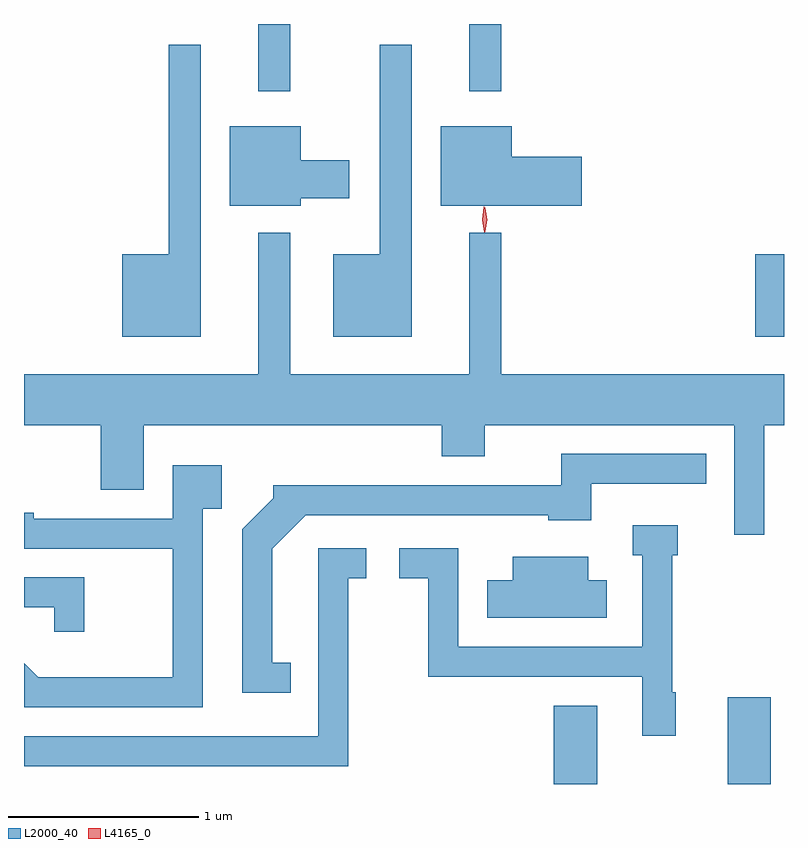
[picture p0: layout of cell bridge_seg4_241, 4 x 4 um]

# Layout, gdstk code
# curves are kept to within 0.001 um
import gdstk
lib = gdstk.Library(unit=1e-6, precision=1e-09)
def R(c, l, rs):  # rectangles x0, y0, x1, y1
    for r in rs: c.add(gdstk.rectangle(r[:2], r[2:], *l))
def P(c, l, *ps):  # polygons
    for p in ps: c.add(gdstk.Polygon(p, *l))
L2000_40 = (2000, 40)
L4165_0 = (4165, 0)

bridge_seg4_241 = lib.new_cell('bridge_seg4_241')
R(bridge_seg4_241, L2000_40, [(731.496,1374.987,731.724,1375.399), (732.411,1374.987,732.639,1375.444), (732.556,1377.341,732.708,1377.774), (729.941,1378.633,730.109,1378.987), (731.051,1378.633,731.219,1378.987)])
P(bridge_seg4_241, L2000_40, [(729.639,1378.878),(729.471,1378.878),(729.471,1377.774),(729.226,1377.774),(729.226,1377.341),(729.639,1377.341)],
  [(730.749,1378.878),(730.581,1378.878),(730.581,1377.774),(730.336,1377.774),(730.336,1377.341),(730.749,1377.341)],
  [(730.164,1378.071),(730.419,1378.071),(730.419,1378.269),(730.164,1378.269),(730.164,1378.449),(729.791,1378.449),(729.791,1378.031),(730.164,1378.031)],
  [(731.644,1378.289),(731.274,1378.289),(731.274,1378.449),(730.901,1378.449),(730.901,1378.031),(731.644,1378.031)],
  [(730.906,1376.711),(731.134,1376.711),(731.134,1376.876),(732.446,1376.876),(732.446,1376.298),(732.604,1376.298),(732.604,1376.876),(732.708,1376.876),(732.708,1377.144),(731.219,1377.144),(731.219,1377.888),(731.051,1377.888),(731.051,1377.144),(730.109,1377.144),(730.109,1377.888),(729.941,1377.888),(729.941,1377.144),(728.708,1377.144),(728.708,1376.876),(729.111,1376.876),(729.111,1376.536),(729.339,1376.536),(729.339,1376.876),(730.906,1376.876)],
  [(730.113,1375.624),(730.014,1375.624),(730.014,1376.224),(730.192,1376.401),(731.466,1376.401),(731.466,1376.376),(731.694,1376.376),(731.694,1376.566),(732.298,1376.566),(732.298,1376.724),(731.536,1376.724),(731.536,1376.559),(730.021,1376.559),(730.021,1376.492),(729.856,1376.327),(729.856,1375.466),(730.113,1375.466)],
  [(729.649,1376.436),(729.749,1376.436),(729.749,1376.664),(729.491,1376.664),(729.491,1376.384),(728.759,1376.384),(728.759,1376.414),(728.708,1376.414),(728.708,1376.226),(729.491,1376.226),(729.491,1375.549),(728.782,1375.549),(728.708,1375.623),(728.709,1375.391),(729.649,1375.391)],
  [(732.139,1375.469),(732.119,1375.469),(732.119,1376.191),(732.149,1376.191),(732.149,1376.349),(731.913,1376.349),(731.913,1376.191),(731.961,1376.191),(731.961,1375.709),(730.994,1375.709),(730.994,1376.229),(730.683,1376.229),(730.683,1376.071),(730.836,1376.071),(730.836,1375.551),(731.961,1375.551),(731.961,1375.241),(732.139,1375.241)],
  [(730.414,1376.071),(730.508,1376.071),(730.508,1376.229),(730.256,1376.229),(730.256,1375.239),(728.708,1375.239),(728.708,1375.081),(730.414,1375.081)],
  [(731.774,1376.059),(731.679,1376.059),(731.679,1376.184),(731.281,1376.184),(731.281,1376.059),(731.146,1376.059),(731.146,1375.861),(731.774,1375.861)],
  [(729.024,1376.074),(728.708,1376.074),(728.708,1375.916),(728.866,1375.916),(728.866,1375.788),(729.024,1375.788)])
P(bridge_seg4_241, L4165_0, [(731.131,1377.89),(731.131,1377.89),(731.121,1377.958),(731.129,1378.025),(731.13,1378.026),(731.13,1378.025),(731.14,1377.958),(731.132,1377.89)],
  [(731.135,1377.893),(731.134,1377.894),(731.125,1377.956),(731.134,1378.02),(731.134,1378.02),(731.135,1378.02),(731.145,1377.956),(731.135,1377.894)])

lib.write_gds('bridge_seg4_241.gds')
